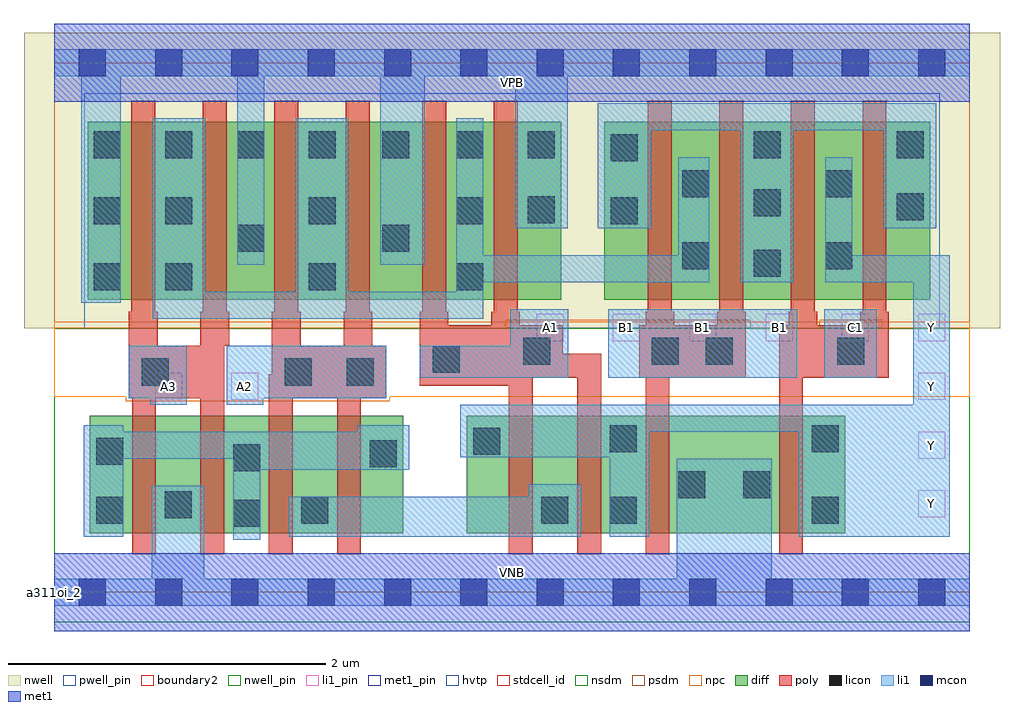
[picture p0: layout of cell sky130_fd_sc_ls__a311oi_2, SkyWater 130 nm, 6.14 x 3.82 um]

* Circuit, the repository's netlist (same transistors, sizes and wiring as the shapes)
* Copyright 2020 The SkyWater PDK Authors
*
* Licensed under the Apache License, Version 2.0 (the "License");
* you may not use this file except in compliance with the License.
* You may obtain a copy of the License at
*
*     https://www.apache.org/licenses/LICENSE-2.0
*
* Unless required by applicable law or agreed to in writing, software
* distributed under the License is distributed on an "AS IS" BASIS,
* WITHOUT WARRANTIES OR CONDITIONS OF ANY KIND, either express or implied.
* See the License for the specific language governing permissions and
* limitations under the License.
*
* SPDX-License-Identifier: Apache-2.0

.SUBCKT sky130_fd_sc_ls__a311oi_2 A1 A2 A3 B1 C1 VGND VNB VPB VPWR Y
*.PININFO A1:I A2:I A3:I B1:I C1:I VGND:I VNB:I VPB:I VPWR:I Y:O
MMPA0 pndA A1 VPWR VPB sky130_fd_pr__pfet_01v8_hvt m=2 w=1.12U l=0.15U mult=1 sa=0.265
+ sb=0.265 sd=0.28 area=0.063 perim=1.14
MMPA1 pndA A2 VPWR VPB sky130_fd_pr__pfet_01v8_hvt m=2 w=1.12U l=0.15U mult=1 sa=0.265
+ sb=0.265 sd=0.28 area=0.063 perim=1.14
MMPA2 pndA A3 VPWR VPB sky130_fd_pr__pfet_01v8_hvt m=2 w=1.12U l=0.15U mult=1 sa=0.265
+ sb=0.265 sd=0.28 area=0.063 perim=1.14
MMPB0 pndB B1 pndA VPB sky130_fd_pr__pfet_01v8_hvt m=2 w=1.12U l=0.15U mult=1 sa=0.265
+ sb=0.265 sd=0.28 area=0.063 perim=1.14
MMPC0 Y C1 pndB VPB sky130_fd_pr__pfet_01v8_hvt m=2 w=1.12U l=0.15U mult=1 sa=0.265
+ sb=0.265 sd=0.28 area=0.063 perim=1.14
MMNA0 Y A1 sndA1 VNB sky130_fd_pr__nfet_01v8 m=2 w=0.74U l=0.15U mult=1 sa=0.265
+ sb=0.265 sd=0.28 area=0.063 perim=1.14
MMNA1 sndA1 A2 sndA2 VNB sky130_fd_pr__nfet_01v8 m=2 w=0.74U l=0.15U mult=1 sa=0.265
+ sb=0.265 sd=0.28 area=0.063 perim=1.14
MMNA2 sndA2 A3 VGND VNB sky130_fd_pr__nfet_01v8 m=2 w=0.74U l=0.15U mult=1 sa=0.265
+ sb=0.265 sd=0.28 area=0.063 perim=1.14
MMNB0 Y B1 VGND VNB sky130_fd_pr__nfet_01v8 m=1 w=0.74U l=0.15U mult=1 sa=0.265
+ sb=0.265 sd=0.28 area=0.063 perim=1.14
MMNC0 Y C1 VGND VNB sky130_fd_pr__nfet_01v8 m=1 w=0.74U l=0.15U mult=1 sa=0.265
+ sb=0.265 sd=0.28 area=0.063 perim=1.14
.ENDS sky130_fd_sc_ls__a311oi_2

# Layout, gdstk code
import gdstk
lib = gdstk.Library(unit=1e-6, precision=1e-09)
def R(c, l, rs):  # rectangles x0, y0, x1, y1
    for r in rs: c.add(gdstk.rectangle(r[:2], r[2:], *l))
def A(c, l, x, y, w, h, nx, ny, dx, dy):  # array of equal rectangles
    R(c, l, [(x+i*dx, y+j*dy, x+i*dx+w, y+j*dy+h) for i in range(nx) for j in range(ny)])
def P(c, l, *ps):  # polygons
    for p in ps: c.add(gdstk.Polygon(p, *l))
nwell_pin = (64, 16)
nwell = (64, 20)
diff = (65, 20)
poly = (66, 20)
licon = (66, 44)
li1_pin = (67, 16)
li1 = (67, 20)
mcon = (67, 44)
met1_pin = (68, 16)
met1 = (68, 20)
hvtp = (78, 44)
stdcell_id = (81, 4)
nsdm = (93, 44)
psdm = (94, 20)
npc = (95, 20)
pwell_pin = (122, 16)
boundary2 = (236, 0)

sky130_fd_sc_ls__a311oi_ = lib.new_cell('sky130_fd_sc_ls__a311oi_2')
R(sky130_fd_sc_ls__a311oi_, nwell_pin, [(0,3.085,5.76,3.33)])
R(sky130_fd_sc_ls__a311oi_, nwell, [(-0.19,1.66,5.95,3.52)])
R(sky130_fd_sc_ls__a311oi_, diff, [(0.225,0.37,2.195,1.11), (2.595,0.37,4.975,1.11), (0.21,1.84,3.19,2.96), (3.46,1.84,5.51,2.96)])
P(sky130_fd_sc_ls__a311oi_, poly, [(1.1,1.765),(1.085,1.765),(1.085,3.09),(0.935,3.09),(0.935,1.765),(0.92,1.765),(0.92,1.55),(0.65,1.55),(0.65,1.765),(0.635,1.765),(0.635,3.09),(0.485,3.09),(0.485,1.765),(0.47,1.765),(0.47,1.22),(0.49,1.22),(0.49,0.24),(0.64,0.24),(0.64,1.22),(0.92,1.22),(0.92,0.24),(1.07,0.24),(1.07,1.55),(1.1,1.55)],
  [(2.09,1.55),(2,1.55),(2,1.765),(1.985,1.765),(1.985,3.09),(1.835,3.09),(1.835,1.765),(1.82,1.765),(1.82,1.55),(1.55,1.55),(1.55,1.765),(1.535,1.765),(1.535,3.09),(1.385,3.09),(1.385,1.765),(1.37,1.765),(1.37,1.37),(1.35,1.37),(1.35,0.24),(1.5,0.24),(1.5,1.22),(1.78,1.22),(1.78,0.24),(1.93,0.24),(1.93,1.22),(2.09,1.22)],
  [(3.44,1.5),(3.2,1.5),(3.2,1.68),(2.93,1.68),(2.93,1.765),(2.915,1.765),(2.915,3.09),(2.765,3.09),(2.765,1.765),(2.75,1.765),(2.75,1.68),(2.48,1.68),(2.48,1.765),(2.465,1.765),(2.465,3.09),(2.315,3.09),(2.315,1.765),(2.3,1.765),(2.3,1.3),(2.86,1.3),(2.86,0.24),(3.01,0.24),(3.01,1.35),(3.29,1.35),(3.29,0.24),(3.44,0.24)],
  [(4.35,1.765),(4.335,1.765),(4.335,3.09),(4.185,3.09),(4.185,1.765),(4.17,1.765),(4.17,1.68),(3.9,1.68),(3.9,1.765),(3.885,1.765),(3.885,3.09),(3.735,3.09),(3.735,1.765),(3.72,1.765),(3.72,1.68),(3.68,1.68),(3.68,1.35),(3.72,1.35),(3.72,0.24),(3.87,0.24),(3.87,1.35),(4.35,1.35)],
  [(5.25,1.765),(5.235,1.765),(5.235,3.09),(5.085,3.09),(5.085,1.765),(5.07,1.765),(5.07,1.68),(4.8,1.68),(4.8,1.765),(4.785,1.765),(4.785,3.09),(4.635,3.09),(4.635,1.765),(4.62,1.765),(4.62,1.68),(4.56,1.68),(4.56,0.24),(4.71,0.24),(4.71,1.35),(5.25,1.35)])
A(sky130_fd_sc_ls__a311oi_, licon, 2.53, 1.9, 0.17, 0.17, 1, 3, 0, 0.415)
A(sky130_fd_sc_ls__a311oi_, licon, 0.25, 2.73, 0.17, 0.17, 4, 1, 0.45, 0)
R(sky130_fd_sc_ls__a311oi_, licon, [(1.125,0.41,1.295,0.58), (0.265,0.43,0.435,0.6), (1.555,0.43,1.725,0.6), (3.065,0.43,3.235,0.6), (3.495,0.43,3.665,0.6), (4.765,0.43,4.935,0.6), (0.695,0.465,0.865,0.635), (3.925,0.59,4.095,0.76), (4.335,0.59,4.505,0.76), (1.125,0.76,1.295,0.93), (1.985,0.785,2.155,0.955), (0.265,0.8,0.435,0.97), (2.635,0.865,2.805,1.035), (3.495,0.88,3.665,1.05), (4.765,0.88,4.935,1.05), (0.55,1.3,0.72,1.47), (1.45,1.3,1.62,1.47), (1.84,1.3,2.01,1.47), (2.38,1.38,2.55,1.55), (2.95,1.43,3.12,1.6), (3.76,1.43,3.93,1.6), (4.1,1.43,4.27,1.6), (4.925,1.43,5.095,1.6), (0.25,1.9,0.42,2.07), (0.7,1.9,0.87,2.07), (1.6,1.9,1.77,2.07), (4.4,1.985,4.57,2.155), (3.95,2.03,4.12,2.2), (4.85,2.03,5.02,2.2), (1.15,2.14,1.32,2.31), (2.065,2.14,2.235,2.31), (0.25,2.315,0.42,2.485), (0.7,2.315,0.87,2.485), (1.6,2.315,1.77,2.485), (3.5,2.315,3.67,2.485), (2.98,2.32,3.15,2.49), (5.3,2.34,5.47,2.51), (4.4,2.365,4.57,2.535), (3.95,2.485,4.12,2.655), (4.85,2.485,5.02,2.655), (3.5,2.71,3.67,2.88), (2.065,2.73,2.235,2.9), (2.98,2.73,3.15,2.9), (4.4,2.73,4.57,2.9), (5.3,2.73,5.47,2.9)])
A(sky130_fd_sc_ls__a311oi_, li1_pin, 5.435, 0.47, 0.17, 0.17, 1, 3, 0, 0.37)
A(sky130_fd_sc_ls__a311oi_, li1_pin, 3.035, 1.58, 0.17, 0.17, 6, 1, 0.48, 0)
R(sky130_fd_sc_ls__a311oi_, li1_pin, [(0.635,1.21,0.805,1.38), (1.115,1.21,1.285,1.38)])
R(sky130_fd_sc_ls__a311oi_, li1, [(3.485,1.35,4.675,1.78), (4.845,1.35,5.175,1.78)])
P(sky130_fd_sc_ls__a311oi_, li1, [(2.9,2.29),(2.9,3.245),(2.33,3.245),(2.33,2.06),(2.05,2.06),(2.05,3.245),(1.32,3.245),(1.32,2.06),(1.15,2.06),(1.15,3.245),(0.42,3.245),(0.42,1.82),(0.17,1.82),(0.17,3.245),(0,3.245),(0,3.415),(5.76,3.415),(5.76,3.245),(3.23,3.245),(3.23,2.29)],
  [(0.615,0.085),(0.615,0.67),(0.945,0.67),(0.945,0.085),(3.915,0.085),(3.915,0.84),(4.515,0.84),(4.515,0.085),(5.76,0.085),(5.76,-0.085),(0,-0.085),(0,0.085)],
  [(5.02,2.12),(5.635,2.12),(5.635,0.35),(4.685,0.35),(4.685,1.01),(3.745,1.01),(3.745,0.35),(3.495,0.35),(3.495,0.85),(2.555,0.85),(2.555,1.18),(5.405,1.18),(5.405,1.95),(4.85,1.95),(4.85,2.735),(5.02,2.735)],
  [(5.55,3.075),(3.42,3.075),(3.42,2.29),(3.755,2.29),(3.755,2.905),(4.32,2.905),(4.32,1.95),(4.65,1.95),(4.65,2.905),(5.22,2.905),(5.22,2.29),(5.55,2.29)],
  [(1.52,1.89),(1.52,2.98),(1.85,2.98),(1.85,1.89),(2.53,1.89),(2.53,2.98),(2.7,2.98),(2.7,2.12),(3.925,2.12),(3.925,2.735),(4.12,2.735),(4.12,1.95),(2.7,1.95),(2.7,1.72),(0.62,1.72),(0.62,2.98),(0.95,2.98),(0.95,1.89)],
  [(1.125,0.33),(1.125,0.84),(0.435,0.84),(0.435,0.35),(0.185,0.35),(0.185,1.05),(0.435,1.05),(0.435,1.01),(1.905,1.01),(1.905,1.05),(2.235,1.05),(2.235,0.77),(1.295,0.77),(1.295,0.33)],
  [(2.985,0.6),(2.985,0.68),(3.315,0.68),(3.315,0.35),(1.475,0.35),(1.475,0.6)],
  [(0.47,1.22),(0.47,1.55),(0.835,1.55),(0.835,1.18),(0.605,1.18),(0.605,1.22)],
  [(1.085,1.55),(2.09,1.55),(2.09,1.22),(1.315,1.22),(1.315,1.18),(1.085,1.18)],
  [(3.235,1.78),(2.87,1.78),(2.87,1.55),(2.3,1.55),(2.3,1.35),(3.235,1.35)])
A(sky130_fd_sc_ls__a311oi_, mcon, 0.155, -0.085, 0.17, 0.17, 12, 2, 0.48, 3.33)
R(sky130_fd_sc_ls__a311oi_, met1_pin, [(0,0,5.76,0.245), (0,3.085,5.76,3.33)])
R(sky130_fd_sc_ls__a311oi_, met1, [(0,-0.245,5.76,0.245), (0,3.085,5.76,3.575)])
R(sky130_fd_sc_ls__a311oi_, hvtp, [(0.19,1.66,5.57,3.14)])
R(sky130_fd_sc_ls__a311oi_, stdcell_id, [(0,0,5.76,3.33)])
R(sky130_fd_sc_ls__a311oi_, nsdm, [(0,-0.19,5.76,1.66)])
P(sky130_fd_sc_ls__a311oi_, psdm, [(5.76,3.52),(0,3.52),(0,1.66),(2.84,1.66),(2.84,1.71),(4.38,1.71),(4.38,1.66),(4.815,1.66),(4.815,1.71),(5.205,1.71),(5.205,1.66),(5.76,1.66)])
P(sky130_fd_sc_ls__a311oi_, npc, [(5.76,1.7),(0,1.7),(0,1.23),(0.45,1.23),(0.45,1.2),(2.11,1.2),(2.11,1.23),(5.76,1.23)])
R(sky130_fd_sc_ls__a311oi_, pwell_pin, [(0,0,5.76,0.245)])
R(sky130_fd_sc_ls__a311oi_, boundary2, [(0,0,5.76,3.33)])
sky130_fd_sc_ls__a311oi_.add(gdstk.Label('a311oi_2', (0,0), layer=83, texttype=44))
sky130_fd_sc_ls__a311oi_.add(gdstk.Label('VNB', (2.88,0.123), layer=64, texttype=59))
sky130_fd_sc_ls__a311oi_.add(gdstk.Label('VPB', (2.88,3.208), layer=64, texttype=5))
sky130_fd_sc_ls__a311oi_.add(gdstk.Label('VPWR', (2.88,3.208), layer=68, texttype=5))
sky130_fd_sc_ls__a311oi_.add(gdstk.Label('VGND', (2.88,0.123), layer=68, texttype=5))
sky130_fd_sc_ls__a311oi_.add(gdstk.Label('Y', (5.52,0.555), layer=67, texttype=5))
sky130_fd_sc_ls__a311oi_.add(gdstk.Label('Y', (5.52,0.925), layer=67, texttype=5))
sky130_fd_sc_ls__a311oi_.add(gdstk.Label('Y', (5.52,1.295), layer=67, texttype=5))
sky130_fd_sc_ls__a311oi_.add(gdstk.Label('Y', (5.52,1.665), layer=67, texttype=5))
sky130_fd_sc_ls__a311oi_.add(gdstk.Label('C1', (5.04,1.665), layer=67, texttype=5))
sky130_fd_sc_ls__a311oi_.add(gdstk.Label('B1', (3.6,1.665), layer=67, texttype=5))
sky130_fd_sc_ls__a311oi_.add(gdstk.Label('B1', (4.08,1.665), layer=67, texttype=5))
sky130_fd_sc_ls__a311oi_.add(gdstk.Label('B1', (4.56,1.665), layer=67, texttype=5))
sky130_fd_sc_ls__a311oi_.add(gdstk.Label('A3', (0.72,1.295), layer=67, texttype=5))
sky130_fd_sc_ls__a311oi_.add(gdstk.Label('A2', (1.2,1.295), layer=67, texttype=5))
sky130_fd_sc_ls__a311oi_.add(gdstk.Label('A1', (3.12,1.665), layer=67, texttype=5))

lib.write_gds('sky130_fd_sc_ls__a311oi_2.gds')
